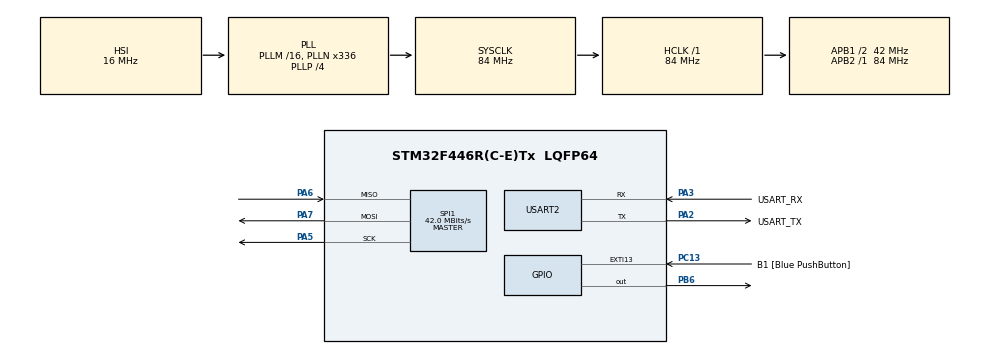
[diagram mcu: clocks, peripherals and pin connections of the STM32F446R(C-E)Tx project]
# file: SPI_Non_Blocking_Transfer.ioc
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Mcu.Family=STM32F4
Mcu.Name=STM32F446R(C-E)Tx
Mcu.Package=LQFP64
NVIC.PriorityGroup=NVIC_PRIORITYGROUP_0
NVIC.SPI1_IRQn=true\:0\:0\:false\:false\:true\:true\:true\:true
PA13.GPIO_Label=TMS
PA13.Mode=Serial_Wire
PA13.Signal=SYS_JTMS-SWDIO
PA14.GPIO_Label=TCK
PA14.Mode=Serial_Wire
PA14.Signal=SYS_JTCK-SWCLK
PA2.GPIO_Label=USART_TX
PA2.Mode=Asynchronous
PA2.Signal=USART2_TX
PA3.GPIO_Label=USART_RX
PA3.Mode=Asynchronous
PA3.Signal=USART2_RX
PA5.Mode=Full_Duplex_Master
PA5.Signal=SPI1_SCK
PA6.Mode=Full_Duplex_Master
PA6.Signal=SPI1_MISO
PA7.Mode=Full_Duplex_Master
PA7.Signal=SPI1_MOSI
PB3.GPIO_Label=SWO
PB3.Signal=SYS_JTDO-SWO
PB6.Signal=GPIO_Output
PC13.GPIO_Label=B1 [Blue PushButton]
PC13.GPIO_ModeDefaultEXTI=GPIO_MODE_IT_FALLING
PC13.Signal=GPXTI13
PC14-OSC32_IN.Mode=LSE-External-Oscillator
PC14-OSC32_IN.Signal=RCC_OSC32_IN
PC15-OSC32_OUT.Mode=LSE-External-Oscillator
PC15-OSC32_OUT.Signal=RCC_OSC32_OUT
PH0-OSC_IN.Mode=HSE-External-Oscillator
PH0-OSC_IN.Signal=RCC_OSC_IN
PH1-OSC_OUT.Mode=HSE-External-Oscillator
PH1-OSC_OUT.Signal=RCC_OSC_OUT
ProjectManager.HeapSize=0x200
ProjectManager.StackSize=0x400
ProjectManager.TargetToolchain=STM32CubeIDE
RCC.48MHZClocksFreq_Value=84000000
RCC.AHBFreq_Value=84000000
RCC.APB1CLKDivider=RCC_HCLK_DIV2
RCC.APB1Freq_Value=42000000
RCC.APB1TimFreq_Value=84000000
RCC.APB2Freq_Value=84000000
RCC.APB2TimFreq_Value=84000000
RCC.CortexFreq_Value=84000000
RCC.FLatency-AdvancedSettings=FLASH_LATENCY_2
RCC.HCLKFreq_Value=84000000
RCC.HSE_VALUE=8000000
RCC.HSI_VALUE=16000000
RCC.PLLN=336
RCC.PLLP=RCC_PLLP_DIV4
RCC.SYSCLKFreq_VALUE=84000000
RCC.SYSCLKSource=RCC_SYSCLKSOURCE_PLLCLK
RCC.USBFreq_Value=168000000
RCC.VCOOutputFreq_Value=336000000
SPI1.CalculateBaudRate=42.0 MBits/s
SPI1.Direction=SPI_DIRECTION_2LINES
SPI1.Mode=SPI_MODE_MASTER
SPI1.VirtualType=VM_MASTER
USART2.VirtualMode=VM_ASYNC
board=NUCLEO-F446RE

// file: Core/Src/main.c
/* USER CODE BEGIN Header */
/**
  ******************************************************************************
  * @file           : main.c
  * @brief          : Main program body
  ******************************************************************************
  * @attention
  *
  * Copyright (c) 2023 STMicroelectronics.
  * All rights reserved.
  *
  * This software is licensed under terms that can be found in the LICENSE file
  * in the root directory of this software component.
  * If no LICENSE file comes with this software, it is provided AS-IS.
  *
  ******************************************************************************
  */
/* USER CODE END Header */
#include "main.h"

/* USER CODE BEGIN Includes */
#include <stdio.h>

/* USER CODE END Includes */

SPI_HandleTypeDef hspi1;

UART_HandleTypeDef huart2;

/* USER CODE BEGIN PV */

// 25AA040A instructions
const uint8_t EEPROM_READ = 0b00000011;
const uint8_t EEPROM_WRITE = 0b00000010;
const uint8_t EEPROM_WRDI = 0b00000100;
const uint8_t EEPROM_WREN = 0b00000110;
const uint8_t EEPROM_RDSR = 0b00000101;
const uint8_t EEPROM_WRSR = 0b00000001;

// Global flags
volatile uint8_t spi_xmit_flag = 0;
volatile uint8_t spi_recv_flag = 0;

/* USER CODE END PV */

void SystemClock_Config(void);
static void MX_GPIO_Init(void);
static void MX_USART2_UART_Init(void);
static void MX_SPI1_Init(void);

int main(void)
{
  /* USER CODE BEGIN 1 */
	char uart_buf[50];
	int uart_buf_len;
	char spi_buf[20];
	uint8_t addr;
	uint8_t wip;
	uint8_t state = 0;

  /* USER CODE END 1 */

  /* MCU Configuration--------------------------------------------------------*/

  /* Reset of all peripherals, Initializes the Flash interface and the Systick. */
  HAL_Init();

  /* Configure the system clock */
  SystemClock_Config();

  /* Initialize all configured peripherals */
  MX_GPIO_Init();
  MX_USART2_UART_Init();
  MX_SPI1_Init();
  /* USER CODE BEGIN 2 */
  // CS pin should default high
    HAL_GPIO_WritePin(GPIOB, GPIO_PIN_6, GPIO_PIN_SET);

    // Say something
    uart_buf_len = sprintf(uart_buf, "SPI Interrupt Test\r\n");
    HAL_UART_Transmit(&huart2, (uint8_t *)uart_buf, uart_buf_len, 100);

    // Set starting address in EEPROM (arbitrarily set to 5). Note that for the
    // 25AA040A, we can't do sequential writes outside of page (16 bytes)
    addr = 0x05;

  /* USER CODE END 2 */

  /* Infinite loop */
  /* USER CODE BEGIN WHILE */
  while (1)
  {
  // Finite state machine to allow for non-blocking SPI transmit/receive
	  switch(state)
	  {
		// Transmit
		case 0:

		  // First 2 bytes of buffer are instruction and address
		  spi_buf[0] = EEPROM_WRITE;
		  spi_buf[1] = addr;

		  // Fill buffer with stuff to write to EEPROM
		  for (int i = 0; i < 10; i++)
		  {
			spi_buf[2 + i] = i;
		  }

		  // Enable write enable latch (allow write operations)
		  HAL_GPIO_WritePin(GPIOB, GPIO_PIN_6, GPIO_PIN_RESET);
		  HAL_SPI_Transmit(&hspi1, (uint8_t *)&EEPROM_WREN, 1, 100);
		  HAL_GPIO_WritePin(GPIOB, GPIO_PIN_6, GPIO_PIN_SET);

		  // Perform non-blocking write to SPI
		  HAL_GPIO_WritePin(GPIOB, GPIO_PIN_6, GPIO_PIN_RESET);
		  HAL_SPI_Transmit_IT(&hspi1, (uint8_t *)spi_buf, 12);

		  // Go to next state: waiting for interrupt flag
		  state += 1;

		  break;

		// Wait for transmit flag
		case 1:

		  if (spi_xmit_flag)
		  {
			// Clear flag and go to next state
			spi_xmit_flag = 0;
			state += 1;
		  }

		  break;

		// Wait for WIP bit to be cleared, If it is ready for another command
		case 2:

		  // Read status register
		  HAL_GPIO_WritePin(GPIOB, GPIO_PIN_6, GPIO_PIN_RESET);
		  HAL_SPI_Transmit(&hspi1, (uint8_t *)&EEPROM_RDSR, 1, 100);
		  HAL_SPI_Receive(&hspi1, (uint8_t *)spi_buf, 1, 100);
		  HAL_GPIO_WritePin(GPIOB, GPIO_PIN_6, GPIO_PIN_SET);

		  // Mask out WIP bit
		  wip = spi_buf[0] & 0b00000001;

		  // If WIP is cleared, go to next state
		  if (wip == 0)
		  {
			state += 1;
		  }

		  break;

		// Set up for interrupt-based SPI receive
		case 3:

		  // Clear SPI buffer
		  for (int i = 0; i < 12; i++)
		  {
			spi_buf[i] = 0;
		  }

		  // Read the 10 bytes back
		  HAL_GPIO_WritePin(GPIOB, GPIO_PIN_6, GPIO_PIN_RESET);
		  HAL_SPI_Transmit(&hspi1, (uint8_t *)&EEPROM_READ, 1, 100);
		  HAL_SPI_Transmit(&hspi1, (uint8_t *)&addr, 1, 100);
		  HAL_SPI_Receive_IT(&hspi1, (uint8_t *)spi_buf, 10);

		  // Go to next state: waiting for receive to finish
		  state += 1;

		  break;

		// Wait for receive flag
		case 4:

		  if (spi_recv_flag)
		  {
			// Clear flag and go to next state
			spi_recv_flag = 0;
			state += 1;
		  }

		  break;

		// Print out received bytes and wait before retransmitting
		case 5:

		  // Print out bytes
		  for (int i = 0; i < 10; i++)
		  {
			uart_buf_len = sprintf(uart_buf,
									"0xx ",(unsigned int)spi_buf[i]);
			HAL_UART_Transmit(&huart2, (uint8_t *)uart_buf, uart_buf_len, 100);
		  }

		  // Print newline
		  uart_buf_len = sprintf(uart_buf, "\r\n");
		  HAL_UART_Transmit(&huart2, (uint8_t *)uart_buf, uart_buf_len, 100);

		  // Wait a few seconds before retransmitting (yes, I know that this is
		  // blocking--you can make it non-blocking if you wish. I'm lazy.)
		  HAL_Delay(1000);
		  state = 0;

		  break;

		default:
			 uart_buf_len = sprintf(uart_buf, "Something went wrong! \r\n");
					  HAL_UART_Transmit(&huart2, (uint8_t *)uart_buf, uart_buf_len, 100);
		  break;
    /* USER CODE END WHILE */

  }
}

void SystemClock_Config(void)
{
  RCC_OscInitTypeDef RCC_OscInitStruct = {0};
  RCC_ClkInitTypeDef RCC_ClkInitStruct = {0};

  /** Configure the main internal regulator output voltage
  */
  __HAL_RCC_PWR_CLK_ENABLE();
  __HAL_PWR_VOLTAGESCALING_CONFIG(PWR_REGULATOR_VOLTAGE_SCALE3);

  /** Initializes the RCC Oscillators according to the specified parameters
  * in the RCC_OscInitTypeDef structure.
  */
  RCC_OscInitStruct.OscillatorType = RCC_OSCILLATORTYPE_HSI;
  RCC_OscInitStruct.HSIState = RCC_HSI_ON;
  RCC_OscInitStruct.HSICalibrationValue = RCC_HSICALIBRATION_DEFAULT;
  RCC_OscInitStruct.PLL.PLLState = RCC_PLL_ON;
  RCC_OscInitStruct.PLL.PLLSource = RCC_PLLSOURCE_HSI;
  RCC_OscInitStruct.PLL.PLLM = 16;
  RCC_OscInitStruct.PLL.PLLN = 336;
  RCC_OscInitStruct.PLL.PLLP = RCC_PLLP_DIV4;
  RCC_OscInitStruct.PLL.PLLQ = 2;
  RCC_OscInitStruct.PLL.PLLR = 2;
  if (HAL_RCC_OscConfig(&RCC_OscInitStruct) != HAL_OK)
  {
    Error_Handler();
  }

  /** Initializes the CPU, AHB and APB buses clocks
  */
  RCC_ClkInitStruct.ClockType = RCC_CLOCKTYPE_HCLK|RCC_CLOCKTYPE_SYSCLK
                              |RCC_CLOCKTYPE_PCLK1|RCC_CLOCKTYPE_PCLK2;
  RCC_ClkInitStruct.SYSCLKSource = RCC_SYSCLKSOURCE_PLLCLK;
  RCC_ClkInitStruct.AHBCLKDivider = RCC_SYSCLK_DIV1;
  RCC_ClkInitStruct.APB1CLKDivider = RCC_HCLK_DIV2;
  RCC_ClkInitStruct.APB2CLKDivider = RCC_HCLK_DIV1;

  if (HAL_RCC_ClockConfig(&RCC_ClkInitStruct, FLASH_LATENCY_2) != HAL_OK)
  {
    Error_Handler();
  }
}

static void MX_SPI1_Init(void)
{

  /* SPI1 parameter configuration*/
  hspi1.Instance = SPI1;
  hspi1.Init.Mode = SPI_MODE_MASTER;
  hspi1.Init.Direction = SPI_DIRECTION_2LINES;
  hspi1.Init.DataSize = SPI_DATASIZE_8BIT;
  hspi1.Init.CLKPolarity = SPI_POLARITY_LOW;
  hspi1.Init.CLKPhase = SPI_PHASE_1EDGE;
  hspi1.Init.NSS = SPI_NSS_SOFT;
  hspi1.Init.BaudRatePrescaler = SPI_BAUDRATEPRESCALER_2;
  hspi1.Init.FirstBit = SPI_FIRSTBIT_MSB;
  hspi1.Init.TIMode = SPI_TIMODE_DISABLE;
  hspi1.Init.CRCCalculation = SPI_CRCCALCULATION_DISABLE;
  hspi1.Init.CRCPolynomial = 10;
  if (HAL_SPI_Init(&hspi1) != HAL_OK)
  {
    Error_Handler();
  }

}

static void MX_USART2_UART_Init(void)
{

  huart2.Instance = USART2;
  huart2.Init.BaudRate = 115200;
  huart2.Init.WordLength = UART_WORDLENGTH_8B;
  huart2.Init.StopBits = UART_STOPBITS_1;
  huart2.Init.Parity = UART_PARITY_NONE;
  huart2.Init.Mode = UART_MODE_TX_RX;
  huart2.Init.HwFlowCtl = UART_HWCONTROL_NONE;
  huart2.Init.OverSampling = UART_OVERSAMPLING_16;
  if (HAL_UART_Init(&huart2) != HAL_OK)
  {
    Error_Handler();
  }

}

static void MX_GPIO_Init(void)
{
  GPIO_InitTypeDef GPIO_InitStruct = {0};

  /* GPIO Ports Clock Enable */
  __HAL_RCC_GPIOC_CLK_ENABLE();
  __HAL_RCC_GPIOH_CLK_ENABLE();
  __HAL_RCC_GPIOA_CLK_ENABLE();
  __HAL_RCC_GPIOB_CLK_ENABLE();

  /*Configure GPIO pin Output Level */
  HAL_GPIO_WritePin(GPIOB, GPIO_PIN_6, GPIO_PIN_RESET);

  /*Configure GPIO pin : B1_Pin */
  GPIO_InitStruct.Pin = B1_Pin;
  GPIO_InitStruct.Mode = GPIO_MODE_IT_FALLING;
  GPIO_InitStruct.Pull = GPIO_NOPULL;
  HAL_GPIO_Init(B1_GPIO_Port, &GPIO_InitStruct);

  /*Configure GPIO pin : PB6 */
  GPIO_InitStruct.Pin = GPIO_PIN_6;
  GPIO_InitStruct.Mode = GPIO_MODE_OUTPUT_PP;
  GPIO_InitStruct.Pull = GPIO_NOPULL;
  GPIO_InitStruct.Speed = GPIO_SPEED_FREQ_LOW;
  HAL_GPIO_Init(GPIOB, &GPIO_InitStruct);

}

/* USER CODE BEGIN 4 */

// This is called when SPI transmit is done
void HAL_SPI_TxCpltCallback (SPI_HandleTypeDef * hspi)
{
  // Set CS pin to high and raise flag
  HAL_GPIO_WritePin(GPIOB, GPIO_PIN_6, GPIO_PIN_SET);
  spi_xmit_flag = 1;
}

// This is called when SPI receive is done
void HAL_SPI_RxCpltCallback (SPI_HandleTypeDef * hspi)
{
  // Set CS pin to high and raise flag
  HAL_GPIO_WritePin(GPIOB, GPIO_PIN_6, GPIO_PIN_SET);
  spi_recv_flag = 1;
}

/* USER CODE END 4 */

void Error_Handler(void)
{
  __disable_irq();
  while (1)
  {
  }
}
